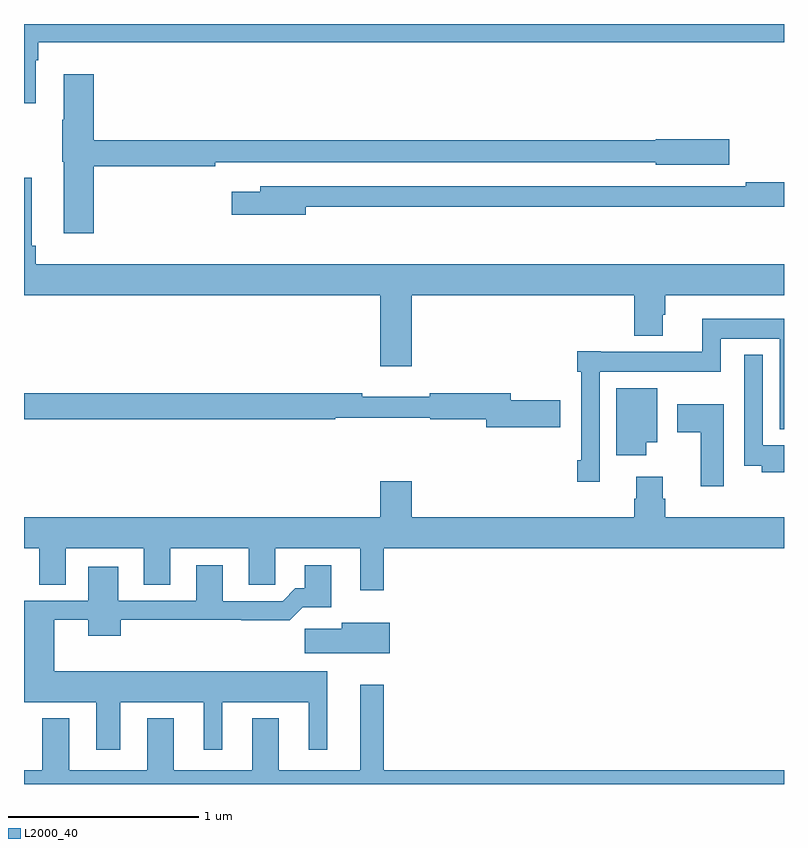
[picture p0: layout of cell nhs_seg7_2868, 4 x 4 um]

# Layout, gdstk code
import gdstk
lib = gdstk.Library(unit=1e-6, precision=1e-09)
def P(c, l, *ps):  # polygons
    for p in ps: c.add(gdstk.Polygon(p, *l))
L2000_40 = (2000, 40)

nhs_seg7_2868 = lib.new_cell('nhs_seg7_2868')
P(nhs_seg7_2868, L2000_40, [(295.063,1045.808),(295.076,1045.808),(295.076,1045.904),(299,1045.904),(299,1046),(295,1046),(295,1045.584),(295.063,1045.584)],
  [(295.367,1045.252),(296.006,1045.252),(296.006,1045.272),(298.326,1045.272),(298.326,1045.259),(298.711,1045.259),(298.711,1045.394),(298.326,1045.394),(298.326,1045.388),(295.367,1045.388),(295.367,1045.735),(295.208,1045.735),(295.208,1045.496),(295.201,1045.496),(295.201,1045.275),(295.208,1045.275),(295.208,1044.9),(295.367,1044.9)],
  [(297.04,1044.572),(298.211,1044.572),(298.211,1044.359),(298.363,1044.359),(298.363,1044.471),(298.376,1044.471),(298.376,1044.572),(299,1044.572),(299,1044.736),(295.061,1044.736),(295.061,1044.832),(295.042,1044.832),(295.042,1045.192),(295,1045.192),(295,1044.572),(296.876,1044.572),(296.876,1044.198),(297.04,1044.198)],
  [(296.482,1045.038),(299,1045.038),(299,1045.166),(298.798,1045.166),(298.798,1045.146),(296.243,1045.146),(296.243,1045.117),(296.094,1045.117),(296.094,1044.995),(296.482,1044.995)],
  [(298.029,1044.17),(298.668,1044.17),(298.668,1044.344),(298.977,1044.344),(298.977,1043.867),(299,1043.867),(299,1044.448),(298.571,1044.448),(298.571,1044.274),(298.036,1044.274),(298.036,1044.277),(297.913,1044.277),(297.913,1044.17),(297.933,1044.17),(297.933,1043.704),(297.913,1043.704),(297.913,1043.592),(298.029,1043.592)],
  [(299,1043.782),(298.887,1043.782),(298.887,1044.259),(298.791,1044.259),(298.791,1043.676),(298.883,1043.676),(298.883,1043.642),(299,1043.642)],
  [(298.276,1043.798),(298.333,1043.798),(298.333,1044.082),(298.118,1044.082),(298.118,1043.73),(298.276,1043.73)],
  [(297.823,1044.02),(297.562,1044.02),(297.562,1044.056),(297.136,1044.056),(297.136,1044.037),(296.78,1044.037),(296.78,1044.056),(295,1044.056),(295,1043.92),(296.638,1043.92),(296.638,1043.928),(297.138,1043.928),(297.138,1043.92),(297.434,1043.92),(297.434,1043.878),(297.823,1043.878)],
  [(298.684,1043.998),(298.437,1043.998),(298.437,1043.851),(298.562,1043.851),(298.562,1043.568),(298.684,1043.568)],
  [(296.893,1043.24),(299,1043.24),(299,1043.404),(298.376,1043.404),(298.376,1043.502),(298.363,1043.502),(298.363,1043.617),(298.223,1043.617),(298.223,1043.502),(298.211,1043.502),(298.211,1043.404),(297.04,1043.404),(297.04,1043.593),(296.876,1043.593),(296.876,1043.404),(295,1043.404),(295,1043.24),(295.079,1043.24),(295.079,1043.05),(295.219,1043.05),(295.219,1043.24),(295.631,1043.24),(295.631,1043.05),(295.771,1043.05),(295.771,1043.24),(296.183,1043.24),(296.183,1043.05),(296.322,1043.05),(296.322,1043.24),(296.771,1043.24),(296.771,1043.019),(296.893,1043.019)],
  [(295.507,1042.43),(295.946,1042.43),(295.946,1042.179),(296.044,1042.179),(296.044,1042.43),(296.498,1042.43),(296.498,1042.179),(296.596,1042.179),(296.596,1042.594),(295.159,1042.594),(295.159,1042.864),(295.337,1042.864),(295.337,1042.781),(295.508,1042.781),(295.508,1042.864),(296.143,1042.864),(296.143,1042.862),(296.399,1042.862),(296.468,1042.931),(296.617,1042.931),(296.617,1043.152),(296.477,1043.152),(296.477,1043.029),(296.428,1043.029),(296.361,1042.962),(296.047,1042.962),(296.047,1043.152),(295.907,1043.152),(295.907,1042.965),(295.495,1042.965),(295.495,1043.143),(295.337,1043.143),(295.337,1042.965),(295,1042.965),(295,1042.43),(295.379,1042.43),(295.379,1042.179),(295.507,1042.179)],
  [(296.926,1042.849),(296.672,1042.849),(296.672,1042.817),(296.478,1042.817),(296.478,1042.688),(296.926,1042.688)],
  [(295.789,1042.345),(295.649,1042.345),(295.649,1042.072),(295.237,1042.072),(295.237,1042.345),(295.097,1042.345),(295.097,1042.072),(295,1042.072),(295,1042),(299,1042),(299,1042.072),(296.893,1042.072),(296.893,1042.522),(296.771,1042.522),(296.771,1042.072),(296.341,1042.072),(296.341,1042.345),(296.201,1042.345),(296.201,1042.072),(295.789,1042.072)])

lib.write_gds('nhs_seg7_2868.gds')
